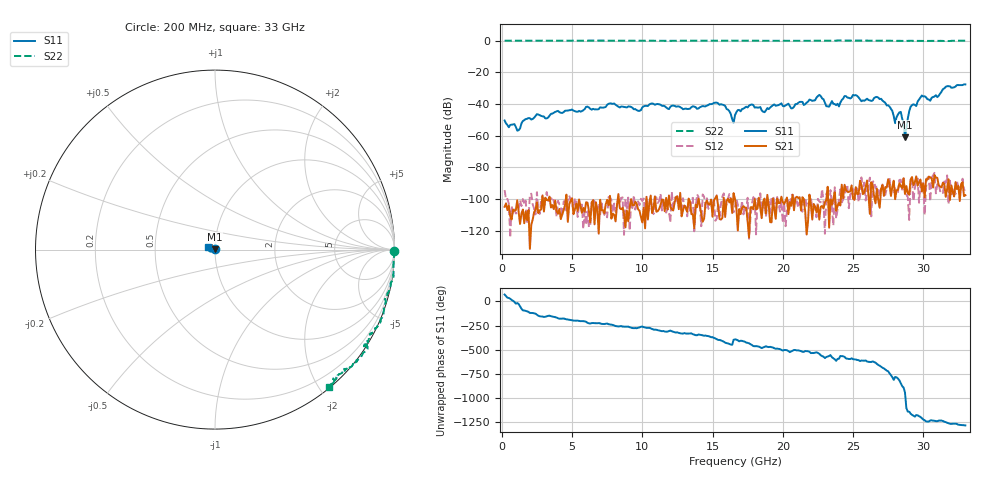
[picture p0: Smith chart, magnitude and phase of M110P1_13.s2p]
# GHZ S RI R 50
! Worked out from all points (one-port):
!   329 points, 200 MHz to 33 GHz, reference 50 ohm
!   lowest |S11| = -61.0 dB at 28.7 GHz (marker M1), VSWR 1.00, Z = 49.9 + j0.0601 ohm
!   |S11| at or under -10 dB: start of sweep to end of sweep
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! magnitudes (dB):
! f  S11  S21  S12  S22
! 200 MHz  -50.5  -105.0  -94.4  0.0
! 1.1 GHz  -56.9  -100.9  -108.9  0.0
! 2.5 GHz  -46.4  -102.2  -95.7  0.0
! 5.7 GHz  -44.6  -108.8  -103.5  0.0
! 11.2 GHz  -40.2  -106.4  -101.2  -0.1
! 15.3 GHz  -39.1  -97.8  -112.4  0.0
! 16.5 GHz  -52.0  -96.3  -108.5  0.0
! 16.6 GHz  -47.1  -100.1  -104.9  0.1
! 17.8 GHz  -40.3  -105.2  -103.2  0.0
! 18.7 GHz  -45.2  -99.8  -102.3  -0.1
! 22.1 GHz  -38.0  -113.1  -105.8  0.0
! 22.6 GHz  -34.3  -113.1  -101.6  -0.1
! 24 GHz  -41.6  -102.6  -99.8  0.1
! 25.2 GHz  -34.4  -92.7  -92.9  0.1
! 27.6 GHz  -41.7  -90.6  -86.5  0.0
! 28 GHz  -52.2  -100.2  -93.3  -0.1
! 28.4 GHz  -45.0  -92.0  -87.9  -0.2
! 28.7 GHz  -61.0  -97.0  -95.6  -0.2
! 29.1 GHz  -41.8  -87.8  -88.9  -0.1
! 29.9 GHz  -34.7  -95.4  -90.1  -0.2
! 30.5 GHz  -38.0  -86.4  -101.6  -0.1
! 33 GHz  -27.7  -97.7  -94.3  -0.1
